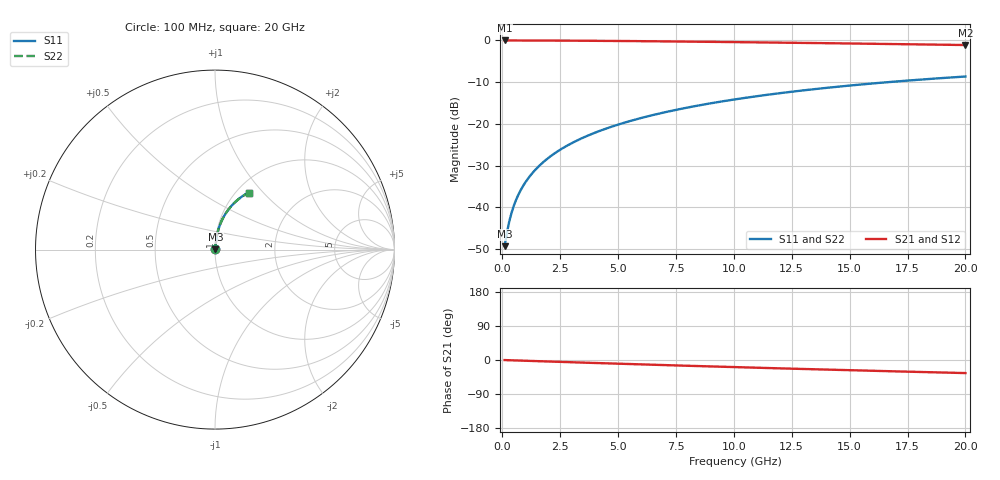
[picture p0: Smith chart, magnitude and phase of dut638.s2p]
! Touchstone file exported from HFSS 2024.1.0
!  File:  C:/UserFiles/LocalFiles/RDL_TSV_Batchsim/temp_RDL_bottom_638_1779784795.aedt
!  Generated:  04:42:27 PM May 26, 2026
!  Design:  RDL_bottom
!  Project:  temp_RDL_bottom_638_1779784795
!  Setup:  Setup1
!  Solution:  Sweep
! Variables:
!  dtsv = 10.80580581um
!  hbump = 3um
!  htsv = 79.56um
!  ldown = 459.09um
!  lrdl = 100um
!  p = 40
!  p1 = 46.31um
!  rhole = 1um
!  t = 450um
!  tdown = 3.98um
!  trdl = 3.915915916um
!  wdown = 15.6um
!  wrdl = 20um
# GHz S MA R 50.000000
! Terminal data exported
! Port[1] = RDL1_T1
! Port[2] = RDL1_T2
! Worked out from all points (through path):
!   200 points, 100 MHz to 20 GHz, reference 50 ohm
!   highest |S21| = -0.02 dB at 100 MHz (marker M1); lowest = -1.1 dB at 20 GHz (marker M2)
!   group delay of S21, straight-line fit = 4.78 ps
!   lowest |S11| = -49.3 dB at 100 MHz (marker M3), VSWR 1.01, Z = 50.3 + j0.208 ohm
!   |S11| at or under -10 dB: start of sweep to 16.67 GHz
!   |S22| runs from -49.3 to -8.7 dB; largest |S21 - S12| = 2e-15
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0.1  0.003437 37.0  0.9973 -0.2  0.9973 -0.2  0.003437 37.0
! Gamma 0 0 0 0
! Port Impedance 50 0 50 0
0.2  0.004986 55.5  0.9972 -0.4  0.9972 -0.4  0.004986 55.5
0.3  0.006778 64.4  0.997 -0.6  0.997 -0.6  0.006779 64.4
0.4  0.008638 69.4  0.9969 -0.8  0.9969 -0.8  0.008638 69.4
0.5  0.01052 72.6  0.9968 -1.0  0.9968 -1.0  0.01052 72.6
0.6  0.01241 74.8  0.9967 -1.2  0.9967 -1.2  0.01241 74.8
0.8  0.0162 77.7  0.9965 -1.6  0.9965 -1.6  0.0162 77.7
1.1  0.02194 80.1  0.9961 -2.2  0.9961 -2.2  0.02194 80.1
1.5  0.02964 81.7  0.9954 -3.0  0.9954 -3.0  0.02964 81.7
1.8  0.03545 82.3  0.9948 -3.6  0.9948 -3.6  0.03545 82.3
2.1  0.04127 82.6  0.9941 -4.2  0.9941 -4.2  0.04127 82.6
2.7  0.05296 82.8  0.9925 -5.4  0.9925 -5.4  0.05296 82.8
3.5  0.0686 82.6  0.9897 -6.9  0.9897 -6.9  0.06859 82.5
4.2  0.08232 82.0  0.9869 -8.3  0.9869 -8.3  0.08231 82.0
5  0.09803 81.3  0.9832 -9.8  0.9832 -9.8  0.09803 81.3
5.9  0.1157 80.3  0.9786 -11.4  0.9786 -11.4  0.1157 80.3
6.8  0.1334 79.2  0.9736 -13.1  0.9736 -13.1  0.1334 79.1
8.3  0.1628 77.1  0.9645 -15.8  0.9645 -15.8  0.1628 77.1
10.1  0.1976 74.5  0.9527 -18.9  0.9527 -18.9  0.1976 74.5
13.4  0.2592 69.5  0.9295 -24.4  0.9295 -24.4  0.2592 69.5
16.7  0.3168 64.4  0.9048 -29.6  0.9048 -29.6  0.3167 64.4
20  0.3692 59.5  0.8794 -34.5  0.8794 -34.5  0.3691 59.5
